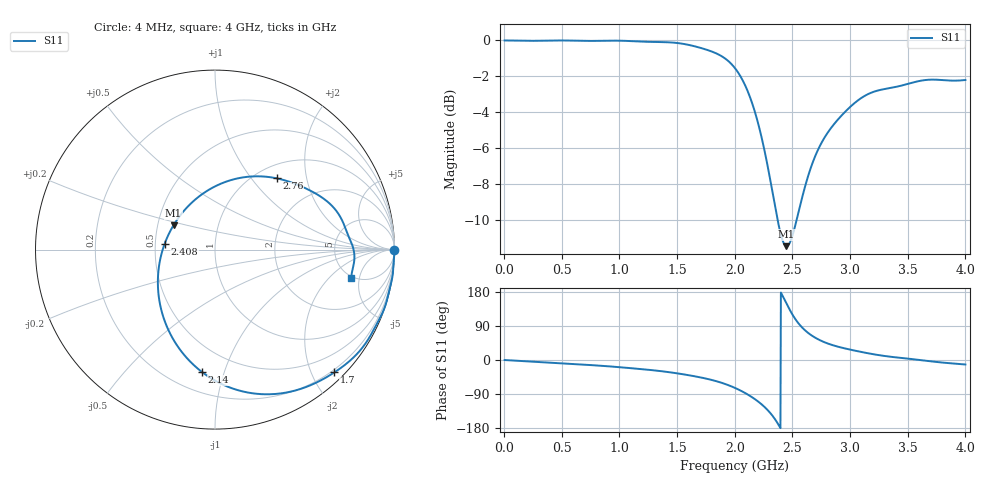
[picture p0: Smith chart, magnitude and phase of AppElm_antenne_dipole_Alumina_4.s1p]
! TOUCHSTONE file generated by CST MICROWAVE STUDIO
! Date and time: Sat May 14 11:21:38 2022
! Project name: AppElm_antenne_dipole_Alumina.cst
! Parameters = {L=33; e=0.035; f=2.45e+09; h=1.6; i=0.8; l1=2; lambda=122.449; ls=30; wl=1.7; ws=72}
! Header version: 2018
! Port assignment regex: !\s*Touchstone port\s*([0-9]+)\s*=\s*(CST MWS port|CST DS port)\s*([0-9]+|Zmin|Zmax)\s*\(\"(.*)\"\)(\s*mode\s*([0-9]+))?.*
! Touchstone port assignment:
! Touchstone port 1 = CST MWS port 1 ("")
# GHz S MA R 50
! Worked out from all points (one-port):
!   1000 points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, 4 MHz to 4 GHz, reference 50 ohm
!   lowest |S11| = -11.4 dB at 2.448 GHz (marker M1), VSWR 1.73, Z = 30.3 + j8.89 ohm
!   |S11| at or under -10 dB: 2.372 GHz to 2.536 GHz (163.4 MHz wide, 6.66 % of centre)
!   S11 on the Smith chart (normalised r, x): 4 MHz: open; 1.7 GHz: 0.15, -2.36; 2.14 GHz: 0.33, -0.84; 2.408 GHz: 0.56, +0.04; 2.76 GHz: 1.23, +1.35; 4 GHz: 4.77, -3.84
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0.004  1 -0.1
0.504  1 -8.7
1.004  0.9985 -19.1
1.32  0.9902 -28.0
1.504  0.9836 -35.3
1.7  0.9542 -45.8
1.788  0.9348 -51.7
1.864  0.9124 -58.1
1.932  0.883 -65.0
2.004  0.8358 -73.9
2.072  0.771 -84.1
2.14  0.6846 -96.2
2.216  0.5659 -112.8
2.28  0.4563 -130.5
2.344  0.3533 -154.1
2.408  0.2824 173.4
2.448  0.268 149.4
2.504  0.2895 118.0
2.56  0.3405 93.9
2.62  0.4035 75.5
2.684  0.4652 61.4
2.76  0.5248 49.2
2.864  0.5869 37.8
3.004  0.655 27.2
3.204  0.7199 15.1
3.504  0.7577 3.5
3.684  0.7778 -2.9
4  0.7764 -11.9
